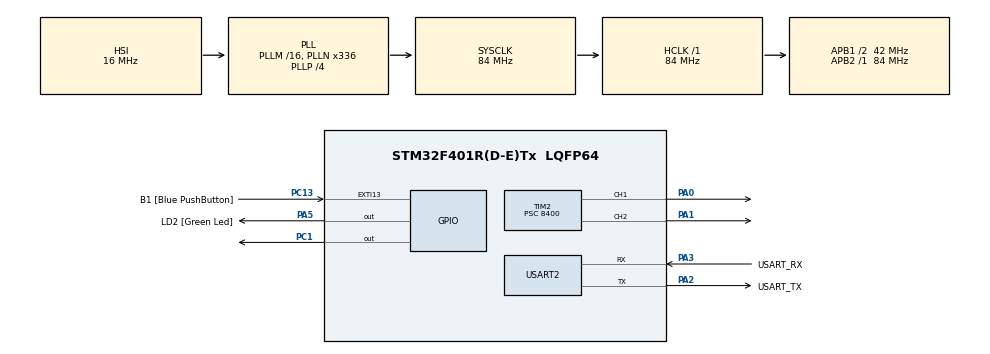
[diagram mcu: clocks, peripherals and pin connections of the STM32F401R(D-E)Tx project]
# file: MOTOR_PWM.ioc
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Mcu.Family=STM32F4
Mcu.Name=STM32F401R(D-E)Tx
Mcu.Package=LQFP64
NVIC.PriorityGroup=NVIC_PRIORITYGROUP_0
PA0-WKUP.Signal=S_TIM2_CH1_ETR
PA1.Signal=S_TIM2_CH2
PA13.GPIO_Label=TMS
PA13.Mode=Serial_Wire
PA13.Signal=SYS_JTMS-SWDIO
PA14.GPIO_Label=TCK
PA14.Mode=Serial_Wire
PA14.Signal=SYS_JTCK-SWCLK
PA2.GPIO_Label=USART_TX
PA2.GPIO_Mode=GPIO_MODE_AF_PP
PA2.GPIO_PuPd=GPIO_NOPULL
PA2.GPIO_Speed=GPIO_SPEED_FREQ_LOW
PA2.Mode=Asynchronous
PA2.Signal=USART2_TX
PA3.GPIO_Label=USART_RX
PA3.GPIO_Mode=GPIO_MODE_AF_PP
PA3.GPIO_PuPd=GPIO_NOPULL
PA3.GPIO_Speed=GPIO_SPEED_FREQ_LOW
PA3.Mode=Asynchronous
PA3.Signal=USART2_RX
PA5.GPIO_Label=LD2 [Green Led]
PA5.GPIO_Mode=GPIO_MODE_OUTPUT_PP
PA5.GPIO_PuPd=GPIO_NOPULL
PA5.GPIO_Speed=GPIO_SPEED_FREQ_LOW
PA5.Signal=GPIO_Output
PB3.GPIO_Label=SWO
PB3.Signal=SYS_JTDO-SWO
PC1.Signal=GPIO_Output
PC13-ANTI_TAMP.GPIO_Label=B1 [Blue PushButton]
PC13-ANTI_TAMP.GPIO_ModeDefaultEXTI=GPIO_MODE_IT_FALLING
PC13-ANTI_TAMP.GPIO_PuPd=GPIO_NOPULL
PC13-ANTI_TAMP.Signal=GPXTI13
PC14-OSC32_IN.Mode=LSE-External-Oscillator
PC14-OSC32_IN.Signal=RCC_OSC32_IN
PC15-OSC32_OUT.Mode=LSE-External-Oscillator
PC15-OSC32_OUT.Signal=RCC_OSC32_OUT
PH0\ -\ OSC_IN.Mode=HSE-External-Clock-Source
PH0\ -\ OSC_IN.Signal=RCC_OSC_IN
PH1\ -\ OSC_OUT.Mode=HSE-External-Clock-Source
PH1\ -\ OSC_OUT.Signal=RCC_OSC_OUT
ProjectManager.HeapSize=0x200
ProjectManager.StackSize=0x400
ProjectManager.TargetToolchain=STM32CubeIDE
RCC.48MHZClocksFreq_Value=48000000
RCC.AHBFreq_Value=84000000
RCC.APB1CLKDivider=RCC_HCLK_DIV2
RCC.APB1Freq_Value=42000000
RCC.APB1TimFreq_Value=84000000
RCC.APB2Freq_Value=84000000
RCC.APB2TimFreq_Value=84000000
RCC.CortexFreq_Value=84000000
RCC.HCLKFreq_Value=84000000
RCC.HSE_VALUE=8000000
RCC.HSI_VALUE=16000000
RCC.PLLN=336
RCC.PLLP=RCC_PLLP_DIV4
RCC.PLLQ=7
RCC.SYSCLKFreq_VALUE=84000000
RCC.SYSCLKSource=RCC_SYSCLKSOURCE_PLLCLK
RCC.VCOOutputFreq_Value=336000000
SH.S_TIM2_CH1_ETR.0=TIM2_CH1,PWM Generation1 CH1
SH.S_TIM2_CH2.0=TIM2_CH2,PWM Generation2 CH2
TIM2.Channel-PWM\ Generation1\ CH1=TIM_CHANNEL_1
TIM2.Channel-PWM\ Generation2\ CH2=TIM_CHANNEL_2
TIM2.Period=255
TIM2.Prescaler=8400
USART2.VirtualMode=VM_ASYNC
board=NUCLEO-F401RE

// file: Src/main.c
/* USER CODE BEGIN Header */
/**
  ******************************************************************************
  * @file           : main.c
  * @brief          : Main program body
  ******************************************************************************
  * @attention
  *
  * <h2><center>&copy; Copyright (c) 2020 STMicroelectronics.
  * All rights reserved.</center></h2>
  *
  * This software component is licensed by ST under BSD 3-Clause license,
  * the "License"; You may not use this file except in compliance with the
  * License. You may obtain a copy of the License at:
  *                        opensource.org/licenses/BSD-3-Clause
  *
  ******************************************************************************
  */
/* USER CODE END Header */

#include "main.h"

/* USER CODE BEGIN PD */
#define ENB_PORT GPIOC
#define ENB_PIN GPIO_PIN_1
#define INB_TIM (&htim2)
#define IN1B_CH TIM_CHANNEL_1
#define IN2B_CH TIM_CHANNEL_2
/* USER CODE END PD */

TIM_HandleTypeDef htim2;

UART_HandleTypeDef huart2;

void SystemClock_Config(void);
static void MX_GPIO_Init(void);
static void MX_USART2_UART_Init(void);
static void MX_TIM2_Init(void);
/* USER CODE BEGIN PFP */
void Speed_Up_Down(TIM_HandleTypeDef *htim, uint32_t Channel, int8_t speed);
/* USER CODE END PFP */

int main(void)
{

  /* MCU Configuration--------------------------------------------------------*/

  /* Reset of all peripherals, Initializes the Flash interface and the Systick. */
  HAL_Init();

  /* Configure the system clock */
  SystemClock_Config();

  /* Initialize all configured peripherals */
  MX_GPIO_Init();
  MX_USART2_UART_Init();
  MX_TIM2_Init();
  /* USER CODE BEGIN 2 */
  HAL_TIM_PWM_Start(INB_TIM, IN1B_CH);
  HAL_TIM_PWM_Start(INB_TIM, IN2B_CH);                // PWM START
  __HAL_TIM_SET_COMPARE(INB_TIM, IN1B_CH, 0);         // IN1B RESET
  __HAL_TIM_SET_COMPARE(INB_TIM, IN2B_CH, 0);         // IN2B RESET
  HAL_GPIO_WritePin(ENB_PORT, ENB_PIN, GPIO_PIN_SET); // ENABLE SET
  /* USER CODE END 2 */

  /* Infinite loop */
  while (1)
  {

    /* USER CODE BEGIN 3 */
	  Speed_Up_Down(INB_TIM, IN1B_CH, 128); //Forward, Speed => 0~255
	  Speed_Up_Down(INB_TIM, IN2B_CH, 255); //Reverse, Speed => 0~255
  }
  /* USER CODE END 3 */
}

void SystemClock_Config(void)
{
  RCC_OscInitTypeDef RCC_OscInitStruct = {0};
  RCC_ClkInitTypeDef RCC_ClkInitStruct = {0};

  /** Configure the main internal regulator output voltage
  */
  __HAL_RCC_PWR_CLK_ENABLE();
  __HAL_PWR_VOLTAGESCALING_CONFIG(PWR_REGULATOR_VOLTAGE_SCALE2);
  /** Initializes the CPU, AHB and APB busses clocks
  */
  RCC_OscInitStruct.OscillatorType = RCC_OSCILLATORTYPE_HSI;
  RCC_OscInitStruct.HSIState = RCC_HSI_ON;
  RCC_OscInitStruct.HSICalibrationValue = RCC_HSICALIBRATION_DEFAULT;
  RCC_OscInitStruct.PLL.PLLState = RCC_PLL_ON;
  RCC_OscInitStruct.PLL.PLLSource = RCC_PLLSOURCE_HSI;
  RCC_OscInitStruct.PLL.PLLM = 16;
  RCC_OscInitStruct.PLL.PLLN = 336;
  RCC_OscInitStruct.PLL.PLLP = RCC_PLLP_DIV4;
  RCC_OscInitStruct.PLL.PLLQ = 7;
  if (HAL_RCC_OscConfig(&RCC_OscInitStruct) != HAL_OK)
  {
    Error_Handler();
  }
  /** Initializes the CPU, AHB and APB busses clocks
  */
  RCC_ClkInitStruct.ClockType = RCC_CLOCKTYPE_HCLK|RCC_CLOCKTYPE_SYSCLK
                              |RCC_CLOCKTYPE_PCLK1|RCC_CLOCKTYPE_PCLK2;
  RCC_ClkInitStruct.SYSCLKSource = RCC_SYSCLKSOURCE_PLLCLK;
  RCC_ClkInitStruct.AHBCLKDivider = RCC_SYSCLK_DIV1;
  RCC_ClkInitStruct.APB1CLKDivider = RCC_HCLK_DIV2;
  RCC_ClkInitStruct.APB2CLKDivider = RCC_HCLK_DIV1;

  if (HAL_RCC_ClockConfig(&RCC_ClkInitStruct, FLASH_LATENCY_2) != HAL_OK)
  {
    Error_Handler();
  }
}

static void MX_TIM2_Init(void)
{

  TIM_MasterConfigTypeDef sMasterConfig = {0};
  TIM_OC_InitTypeDef sConfigOC = {0};

  htim2.Instance = TIM2;
  htim2.Init.Prescaler = 8400;
  htim2.Init.CounterMode = TIM_COUNTERMODE_UP;
  htim2.Init.Period = 255;
  htim2.Init.ClockDivision = TIM_CLOCKDIVISION_DIV1;
  htim2.Init.AutoReloadPreload = TIM_AUTORELOAD_PRELOAD_DISABLE;
  if (HAL_TIM_PWM_Init(&htim2) != HAL_OK)
  {
    Error_Handler();
  }
  sMasterConfig.MasterOutputTrigger = TIM_TRGO_RESET;
  sMasterConfig.MasterSlaveMode = TIM_MASTERSLAVEMODE_DISABLE;
  if (HAL_TIMEx_MasterConfigSynchronization(&htim2, &sMasterConfig) != HAL_OK)
  {
    Error_Handler();
  }
  sConfigOC.OCMode = TIM_OCMODE_PWM1;
  sConfigOC.Pulse = 0;
  sConfigOC.OCPolarity = TIM_OCPOLARITY_HIGH;
  sConfigOC.OCFastMode = TIM_OCFAST_DISABLE;
  if (HAL_TIM_PWM_ConfigChannel(&htim2, &sConfigOC, TIM_CHANNEL_1) != HAL_OK)
  {
    Error_Handler();
  }
  if (HAL_TIM_PWM_ConfigChannel(&htim2, &sConfigOC, TIM_CHANNEL_2) != HAL_OK)
  {
    Error_Handler();
  }
  HAL_TIM_MspPostInit(&htim2);

}

static void MX_USART2_UART_Init(void)
{

  huart2.Instance = USART2;
  huart2.Init.BaudRate = 115200;
  huart2.Init.WordLength = UART_WORDLENGTH_8B;
  huart2.Init.StopBits = UART_STOPBITS_1;
  huart2.Init.Parity = UART_PARITY_NONE;
  huart2.Init.Mode = UART_MODE_TX_RX;
  huart2.Init.HwFlowCtl = UART_HWCONTROL_NONE;
  huart2.Init.OverSampling = UART_OVERSAMPLING_16;
  if (HAL_UART_Init(&huart2) != HAL_OK)
  {
    Error_Handler();
  }

}

static void MX_GPIO_Init(void)
{
  GPIO_InitTypeDef GPIO_InitStruct = {0};

  /* GPIO Ports Clock Enable */
  __HAL_RCC_GPIOC_CLK_ENABLE();
  __HAL_RCC_GPIOH_CLK_ENABLE();
  __HAL_RCC_GPIOA_CLK_ENABLE();
  __HAL_RCC_GPIOB_CLK_ENABLE();

  /*Configure GPIO pin Output Level */
  HAL_GPIO_WritePin(GPIOC, GPIO_PIN_1, GPIO_PIN_RESET);

  /*Configure GPIO pin Output Level */
  HAL_GPIO_WritePin(LD2_GPIO_Port, LD2_Pin, GPIO_PIN_RESET);

  /*Configure GPIO pin : B1_Pin */
  GPIO_InitStruct.Pin = B1_Pin;
  GPIO_InitStruct.Mode = GPIO_MODE_IT_FALLING;
  GPIO_InitStruct.Pull = GPIO_NOPULL;
  HAL_GPIO_Init(B1_GPIO_Port, &GPIO_InitStruct);

  /*Configure GPIO pin : PC1 */
  GPIO_InitStruct.Pin = GPIO_PIN_1;
  GPIO_InitStruct.Mode = GPIO_MODE_OUTPUT_PP;
  GPIO_InitStruct.Pull = GPIO_NOPULL;
  GPIO_InitStruct.Speed = GPIO_SPEED_FREQ_LOW;
  HAL_GPIO_Init(GPIOC, &GPIO_InitStruct);

  /*Configure GPIO pin : LD2_Pin */
  GPIO_InitStruct.Pin = LD2_Pin;
  GPIO_InitStruct.Mode = GPIO_MODE_OUTPUT_PP;
  GPIO_InitStruct.Pull = GPIO_NOPULL;
  GPIO_InitStruct.Speed = GPIO_SPEED_FREQ_LOW;
  HAL_GPIO_Init(LD2_GPIO_Port, &GPIO_InitStruct);

}

/* USER CODE BEGIN 4 */
void Speed_Up_Down(TIM_HandleTypeDef *htim, uint32_t Channel, int8_t speed){

	for(int i = 0; i <= speed; i++){
		__HAL_TIM_SET_COMPARE(htim, Channel, i);
		HAL_Delay(100);
	}
	HAL_Delay(1000);

	for(int i = speed; i >= 0; i--){
		__HAL_TIM_SET_COMPARE(htim, Channel, i);
		HAL_Delay(100);
	}
	HAL_Delay(1000);
}
/* USER CODE END 4 */

void Error_Handler(void)
{
}

/************************ (C) COPYRIGHT STMicroelectronics *****END OF FILE****/
